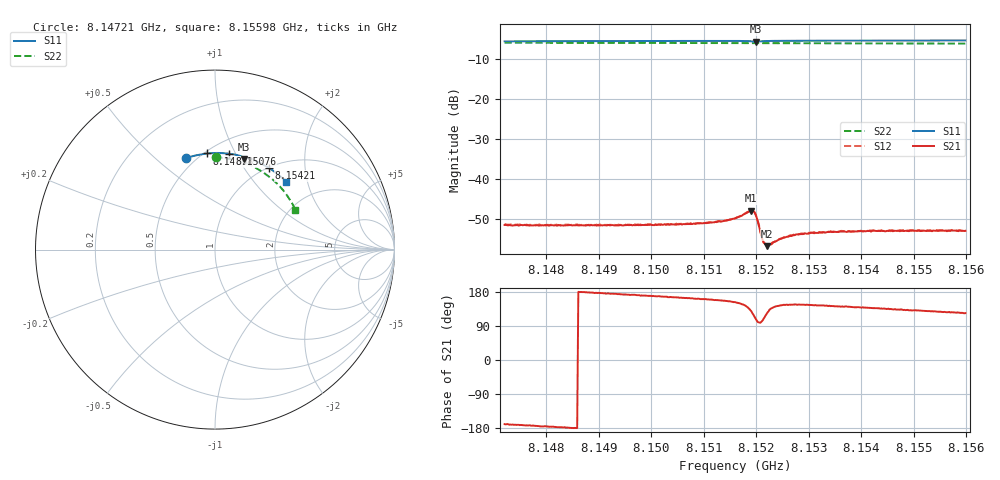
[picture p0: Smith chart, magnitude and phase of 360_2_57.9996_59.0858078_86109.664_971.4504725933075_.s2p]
#  HZ  S  RI  R  50.00
! Rohde & Schwarz Vector Network Analyzer
! Rohde-Schwarz,ZNB20-2Port,1311601062101988,3.16
! Created: UTC 3/21/2024, 1:06:23 AM
! freq[Hz]  re:S11  im:S11  re:S21  im:S21  re:S12  im:S12  re:S22  im:S22
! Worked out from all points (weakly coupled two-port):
!   401 points, 8.14721 GHz to 8.15598 GHz, reference 50 ohm
!   highest |S21| = -47.99 dB at 8.1519 GHz (marker M1); lowest = -56.9 dB at 8.15221 GHz (marker M2)
!   lowest |S11| = -5.5 dB at 8.15199 GHz (marker M3), VSWR 3.26, Z = 37.4 + j52.6 ohm
!   |S11| at or under -10 dB: nowhere
!   |S22| runs from -6.0 to -5.8 dB; largest |S21 - S12| = 0.00012
!   S11 on the Smith chart (normalised r, x): 8.14721 GHz: 0.44, +0.63; 8.14898 GHz: 0.52, +0.78; 8.15076 GHz: 0.63, +0.94; 8.15421 GHz: 1.01, +1.31; 8.15598 GHz: 1.38, +1.49
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8.147207e9  -0.1639 0.5083  -0.0026 -0.000492  -0.00265 -0.000456  0.00318 0.5131
8.148677e9  -0.0644 0.5328  -0.00263 3.06e-05  -0.00267 9.2e-05  0.0982 0.5019
8.148984e9  -0.0431 0.5355  -0.00264 0.000147  -0.00262 0.000217  0.1177 0.4974
8.150147e9  0.0378 0.5379  -0.00262 0.000531  -0.00263 0.000597  0.1886 0.4733
8.150762e9  0.0806 0.5342  -0.0026 0.000811  -0.00265 0.000852  0.2243 0.4564
8.151354e9  0.1219 0.5269  -0.0027 0.00114  -0.00275 0.00117  0.2572 0.4378
8.151595e9  0.1393 0.5223  -0.00286 0.00145  -0.00284 0.00151  0.2702 0.4293
8.151902e9  0.1602 0.5097  -0.00252 0.00309  -0.00248 0.00319  0.2861 0.418
8.151946e9  0.1606 0.5067  -0.00192 0.00346  -0.00188 0.00346  0.2883 0.4164
8.15199e9  0.1596 0.5054  -0.0011 0.00335  -0.00108 0.00339  0.2904 0.4147
8.152012e9  0.1591 0.5057  -0.000745 0.00314  -0.000746 0.00318  0.2913 0.4138
8.152122e9  0.1635 0.5104  -0.000429 0.00165  -0.000418 0.00169  0.297 0.4101
8.152166e9  0.167 0.5112  -0.000635 0.0014  -0.000649 0.0014  0.2993 0.4085
8.15221e9  0.1706 0.5113  -0.000811 0.00118  -0.000828 0.00124  0.3015 0.4066
8.152253e9  0.1742 0.511  -0.00103 0.00112  -0.00097 0.00114  0.3037 0.4051
8.152473e9  0.1908 0.5073  -0.00144 0.00103  -0.00145 0.00105  0.3145 0.3961
8.152626e9  0.2016 0.5038  -0.00159 0.00107  -0.00159 0.00111  0.3221 0.3898
8.152802e9  0.2133 0.4994  -0.00167 0.00111  -0.00166 0.00117  0.3304 0.3824
8.153065e9  0.2305 0.4922  -0.00173 0.00122  -0.00173 0.00123  0.3425 0.3711
8.154206e9  0.3003 0.4551  -0.00163 0.00152  -0.00164 0.00155  0.3902 0.3176
8.154535e9  0.3192 0.4425  -0.00156 0.0016  -0.00159 0.00162  0.4024 0.3009
8.155983e9  0.3956 0.3787  -0.00124 0.00186  -0.00128 0.0019  0.4474 0.2229
